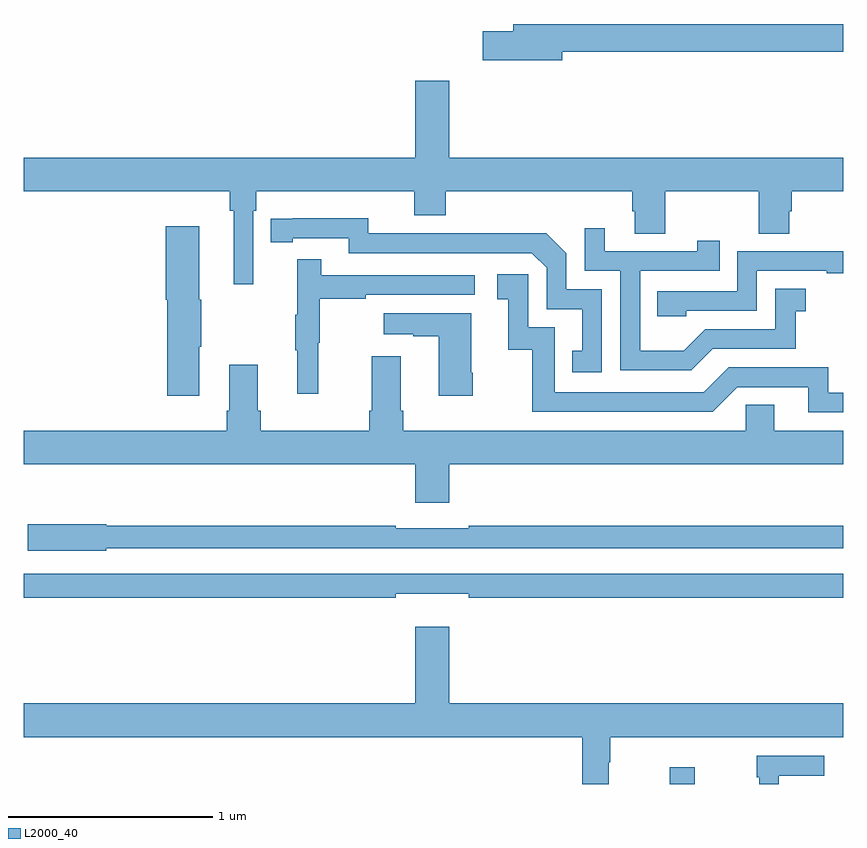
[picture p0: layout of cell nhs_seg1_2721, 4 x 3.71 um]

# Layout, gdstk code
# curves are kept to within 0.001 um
import gdstk
lib = gdstk.Library(unit=1e-6, precision=1e-09)
def R(c, l, rs):  # rectangles x0, y0, x1, y1
    for r in rs: c.add(gdstk.rectangle(r[:2], r[2:], *l))
def P(c, l, *ps):  # polygons
    for p in ps: c.add(gdstk.Polygon(p, *l))
L2000_40 = (2000, 40)

nhs_seg1_2721 = lib.new_cell('nhs_seg1_2721')
R(nhs_seg1_2721, L2000_40, [(262.154,522.199,262.276,522.28)])
P(nhs_seg1_2721, L2000_40, [(261.628,525.772),(263,525.772),(263,525.908),(261.389,525.908),(261.389,525.872),(261.24,525.872),(261.24,525.73),(261.628,525.73)],
  [(260.121,524.996),(260.135,524.996),(260.135,525.092),(260.906,525.092),(260.906,524.975),(261.059,524.975),(261.059,525.092),(261.971,525.092),(261.971,524.994),(261.983,524.994),(261.983,524.884),(262.131,524.884),(262.131,525.092),(262.588,525.092),(262.588,524.884),(262.735,524.884),(262.735,524.994),(262.748,524.994),(262.748,525.092),(263,525.092),(263,525.256),(261.076,525.256),(261.076,525.631),(260.912,525.631),(260.912,525.256),(259,525.256),(259,525.092),(260.005,525.092),(260.005,524.996),(260.024,524.996),(260.024,524.637),(260.121,524.637)],
  [(261.822,524.613),(261.648,524.613),(261.648,524.79),(261.55,524.888),(261.142,524.888),(261.142,524.886),(260.682,524.886),(260.682,524.959),(260.206,524.958),(260.206,524.842),(260.314,524.842),(260.314,524.862),(260.586,524.862),(260.586,524.79),(261.48,524.79),(261.552,524.718),(261.552,524.517),(261.725,524.517),(261.725,524.313),(261.676,524.313),(261.676,524.208),(261.822,524.208)],
  [(259.858,524.332),(259.866,524.332),(259.866,524.562),(259.858,524.562),(259.858,524.92),(259.694,524.92),(259.694,524.562),(259.7,524.562),(259.7,524.094),(259.858,524.094)],
  [(262.363,524.322),(262.767,524.322),(262.767,524.507),(262.816,524.507),(262.816,524.617),(262.668,524.617),(262.668,524.418),(262.326,524.418),(262.222,524.314),(262.008,524.314),(262.008,524.703),(262.397,524.703),(262.397,524.851),(262.286,524.851),(262.286,524.799),(261.835,524.799),(261.835,524.911),(261.738,524.911),(261.738,524.703),(261.912,524.703),(261.912,524.217),(262.258,524.217)],
  [(262.233,524.508),(262.578,524.508),(262.578,524.703),(262.919,524.703),(262.919,524.691),(263,524.691),(263,524.799),(262.482,524.799),(262.482,524.604),(262.093,524.604),(262.093,524.481),(262.233,524.481)],
  [(260.438,524.352),(260.446,524.352),(260.446,524.566),(260.669,524.566),(260.669,524.586),(261.202,524.586),(261.202,524.682),(260.453,524.682),(260.453,524.761),(260.336,524.761),(260.336,524.489),(260.325,524.489),(260.325,524.315),(260.336,524.315),(260.336,524.103),(260.438,524.103)],
  [(263,524.109),(262.926,524.109),(262.926,524.232),(262.44,524.232),(262.32,524.112),(261.591,524.112),(261.591,524.427),(261.462,524.427),(261.462,524.686),(261.312,524.686),(261.312,524.565),(261.365,524.565),(261.365,524.319),(261.483,524.319),(261.483,524.016),(262.362,524.016),(262.482,524.136),(262.829,524.136),(262.829,524.013),(263,524.013)],
  [(261.192,524.206),(261.184,524.206),(261.184,524.497),(260.757,524.497),(260.757,524.393),(260.9,524.393),(260.9,524.383),(261.026,524.383),(261.026,524.094),(261.192,524.094)],
  [(261.076,523.76),(263,523.76),(263,523.924),(262.663,523.924),(262.663,524.051),(262.524,524.051),(262.524,523.924),(260.852,523.924),(260.852,524.02),(260.839,524.02),(260.839,524.287),(260.699,524.287),(260.699,524.02),(260.687,524.02),(260.687,523.924),(260.156,523.924),(260.156,524.02),(260.143,524.02),(260.143,524.245),(260.003,524.245),(260.003,524.02),(259.991,524.02),(259.991,523.924),(259,523.924),(259,523.76),(260.912,523.76),(260.912,523.572),(261.076,523.572)],
  [(259.404,523.35),(263,523.35),(263,523.459),(261.172,523.459),(261.172,523.446),(260.816,523.446),(260.816,523.459),(259.404,523.459),(259.404,523.467),(259.02,523.467),(259.02,523.337),(259.404,523.337)],
  [(260.816,523.127),(261.172,523.127),(261.172,523.108),(263,523.108),(263,523.224),(259,523.224),(259,523.108),(260.816,523.108)],
  [(261.856,522.305),(261.863,522.305),(261.863,522.428),(263,522.428),(263,522.592),(261.076,522.592),(261.076,522.967),(260.912,522.967),(260.912,522.592),(259,522.592),(259,522.428),(261.727,522.428),(261.727,522.199),(261.856,522.199)],
  [(262.686,522.24),(262.906,522.24),(262.906,522.336),(262.578,522.336),(262.578,522.233),(262.59,522.233),(262.59,522.199),(262.686,522.199)])

lib.write_gds('nhs_seg1_2721.gds')
